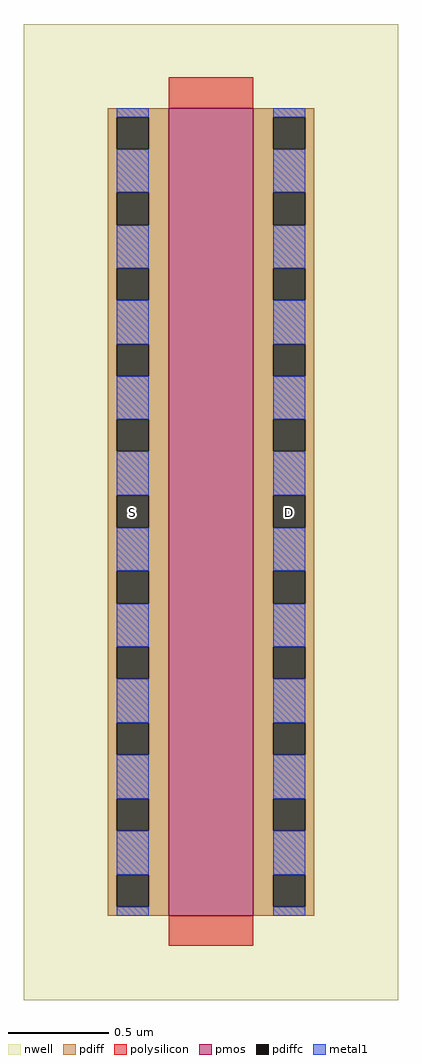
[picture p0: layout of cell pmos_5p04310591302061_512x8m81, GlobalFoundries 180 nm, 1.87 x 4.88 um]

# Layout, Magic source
magic
tech gf180mcuD
magscale 1 10
<< nwell >>
rect -145 -84 229 891
<< pmos >>
rect 0 0 84 807
<< pdiff >>
rect -61 798 0 807
rect -61 766 -52 798
rect -20 766 0 798
rect -61 723 0 766
rect -61 690 -52 723
rect -20 690 0 723
rect -61 647 0 690
rect -61 615 -52 647
rect -20 615 0 647
rect -61 571 0 615
rect -61 539 -52 571
rect -20 539 0 571
rect -61 496 0 539
rect -61 464 -52 496
rect -20 464 0 496
rect -61 420 0 464
rect -61 388 -52 420
rect -20 388 0 420
rect -61 345 0 388
rect -61 312 -52 345
rect -20 312 0 345
rect -61 269 0 312
rect -61 237 -52 269
rect -20 237 0 269
rect -61 193 0 237
rect -61 161 -52 193
rect -20 161 0 193
rect -61 117 0 161
rect -61 85 -52 117
rect -20 85 0 117
rect -61 41 0 85
rect -61 9 -52 41
rect -20 9 0 41
rect -61 0 0 9
rect 84 798 145 807
rect 84 766 104 798
rect 136 766 145 798
rect 84 723 145 766
rect 84 690 104 723
rect 136 690 145 723
rect 84 647 145 690
rect 84 615 104 647
rect 136 615 145 647
rect 84 571 145 615
rect 84 539 104 571
rect 136 539 145 571
rect 84 496 145 539
rect 84 464 104 496
rect 136 464 145 496
rect 84 420 145 464
rect 84 388 104 420
rect 136 388 145 420
rect 84 345 145 388
rect 84 312 104 345
rect 136 312 145 345
rect 84 269 145 312
rect 84 237 104 269
rect 136 237 145 269
rect 84 193 145 237
rect 84 161 104 193
rect 136 161 145 193
rect 84 117 145 161
rect 84 85 104 117
rect 136 85 145 117
rect 84 41 145 85
rect 84 9 104 41
rect 136 9 145 41
rect 84 0 145 9
<< pdiffc >>
rect -52 766 -20 798
rect -52 690 -20 723
rect -52 615 -20 647
rect -52 539 -20 571
rect -52 464 -20 496
rect -52 388 -20 420
rect -52 312 -20 345
rect -52 237 -20 269
rect -52 161 -20 193
rect -52 85 -20 117
rect -52 9 -20 41
rect 104 766 136 798
rect 104 690 136 723
rect 104 615 136 647
rect 104 539 136 571
rect 104 464 136 496
rect 104 388 136 420
rect 104 312 136 345
rect 104 237 136 269
rect 104 161 136 193
rect 104 85 136 117
rect 104 9 136 41
<< polysilicon >>
rect 0 807 84 838
rect 0 -30 84 0
<< metal1 >>
rect -52 798 -20 807
rect -52 723 -20 766
rect -52 647 -20 690
rect -52 571 -20 615
rect -52 496 -20 539
rect -52 420 -20 464
rect -52 345 -20 388
rect -52 269 -20 312
rect -52 193 -20 237
rect -52 117 -20 161
rect -52 41 -20 85
rect -52 0 -20 9
rect 104 798 136 807
rect 104 723 136 766
rect 104 647 136 690
rect 104 571 136 615
rect 104 496 136 539
rect 104 420 136 464
rect 104 345 136 388
rect 104 269 136 312
rect 104 193 136 237
rect 104 117 136 161
rect 104 41 136 85
rect 104 0 136 9
<< labels >>
flabel pdiffc -36 403 -36 403 0 FreeSans 280 0 0 0 S
flabel pdiffc 120 403 120 403 0 FreeSans 280 0 0 0 D
<< end >>
